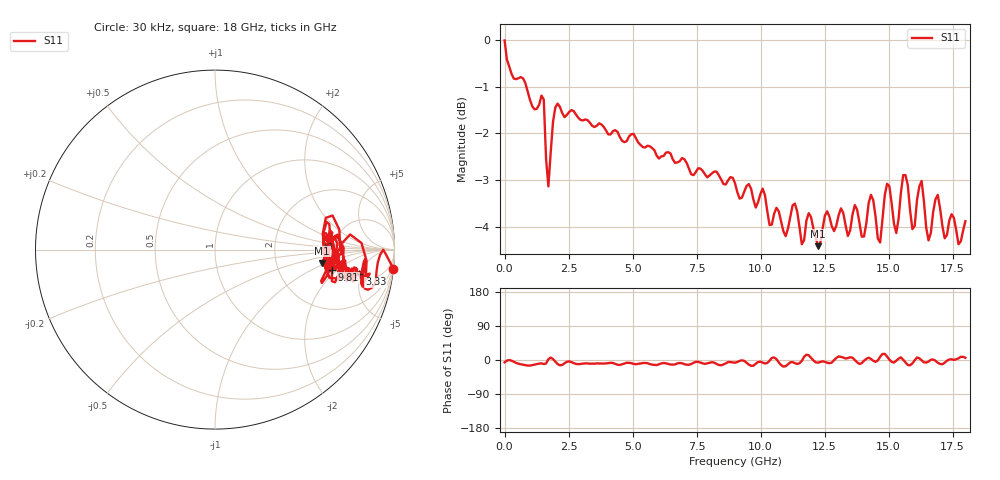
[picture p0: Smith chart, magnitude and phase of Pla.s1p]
!Keysight Technologies N9917A: A.12.46
!Date: Thursday, 16 November 2023 19:11:14
!TimeZone: (UTC-03:00) Buenos Aires!Model: N9917A
!Serial: MY56072049
!GPS Latitude:
!GPS Longitude:
!GPS TimeStamp: 0001-01-01 00:00:00Z
!GPS Seconds Since Last Read: 0
!CHECKSUM:2105058597
!Correction: S11(Rdy)
!S1P File: Measurement: S11:
# Hz S RI R 50
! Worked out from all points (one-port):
!   201 points, 30 kHz to 18 GHz, reference 50 ohm
!   lowest |S11| = -4.4 dB at 12.24 GHz (marker M1), VSWR 4.02, Z = 190 - j43.9 ohm
!   |S11| at or under -10 dB: nowhere
!   S11 on the Smith chart (normalised r, x): 30 kHz: 0, -19; 3.33 GHz: 5.84, -4.81; 9.81 GHz: 4.20, -1.69; 18 GHz: 4.34, +0.94
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30000  0.9937 -0.1059
1.800297e8  0.9371 -0.000668
9.900284e8  0.8353 -0.2175
1.530027e9  0.8488 -0.1594
1.800027e9  0.753 0.0844
2.250026e9  0.8141 -0.1876
3.330024e9  0.8042 -0.1377
4.500022e9  0.767 -0.1782
6.750019e9  0.7308 -0.114
9.000015e9  0.6972 -0.0868
9.810014e9  0.6519 -0.113
1.053001e10  0.6476 0.0743
1.089001e10  0.5954 -0.1862
1.125001e10  0.6622 -0.0629
1.152001e10  0.6233 -0.0942
1.179001e10  0.622 0.154
1.224001e10  0.5969 -0.0738
1.350001e10  0.6206 0.0776
1.386001e10  0.627 -0.1156
1.422001e10  0.665 0.0696
1.449001e10  0.6448 -0.0555
1.485001e10  0.6549 0.1897
1.512e10  0.6658 -0.0576
1.548e10  0.6808 0.0829
1.575e10  0.6805 -0.1607
1.611e10  0.6698 0.077
1.71e10  0.6203 -0.1242
1.8e10  0.6365 0.0639
